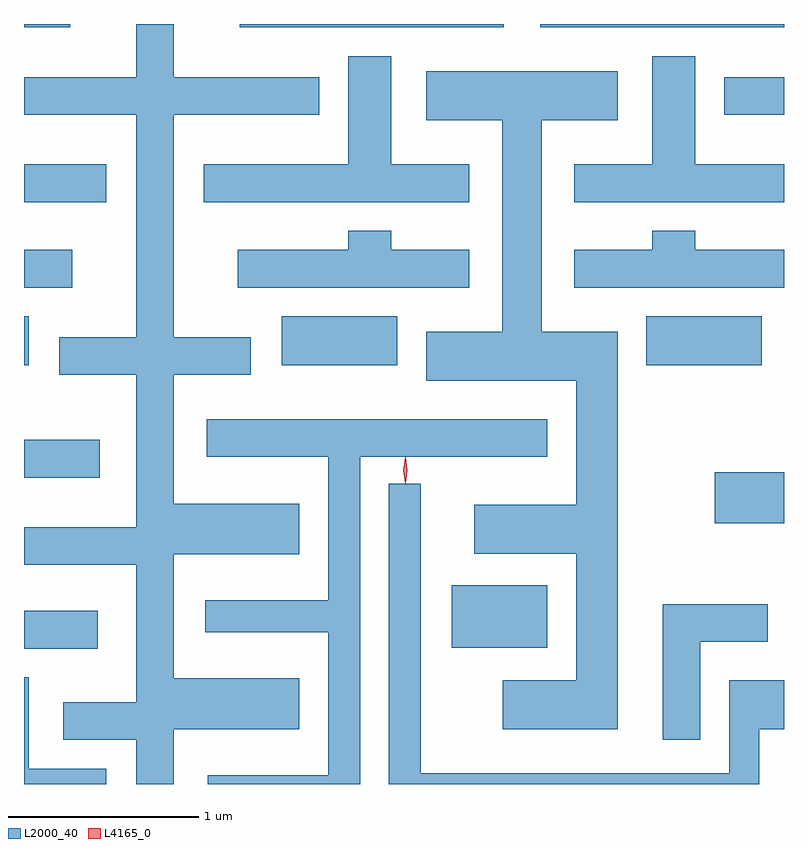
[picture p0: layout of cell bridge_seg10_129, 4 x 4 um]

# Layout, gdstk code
import gdstk
lib = gdstk.Library(unit=1e-6, precision=1e-09)
def R(c, l, rs):  # rectangles x0, y0, x1, y1
    for r in rs: c.add(gdstk.rectangle(r[:2], r[2:], *l))
def P(c, l, *ps):  # polygons
    for p in ps: c.add(gdstk.Polygon(p, *l))
L2000_40 = (2000, 40)
L4165_0 = (4165, 0)

bridge_seg10_129 = lib.new_cell('bridge_seg10_129')
R(bridge_seg10_129, L2000_40, [(1656,2141.306,1656.389,2141.504), (1658.251,2141.311,1658.754,2141.639), (1659.636,2141.966,1660,2142.234), (1656,2142.206,1656.399,2142.404), (1656,2142.796,1656.024,2143.054), (1657.356,2142.796,1657.964,2143.054), (1659.276,2142.796,1659.884,2143.054), (1656,2143.206,1656.254,2143.404), (1656,2143.656,1656.434,2143.854), (1659.686,2144.116,1660,2144.314), (1656,2144.576,1656.244,2144.593), (1657.136,2144.576,1658.524,2144.593), (1658.716,2144.576,1660,2144.593)])
P(bridge_seg10_129, L2000_40, [(1660,2143.854),(1659.534,2143.854),(1659.534,2144.424),(1659.306,2144.424),(1659.306,2143.854),(1658.896,2143.854),(1658.896,2143.656),(1660,2143.656)],
  [(1658.344,2143.854),(1657.934,2143.854),(1657.934,2144.424),(1657.706,2144.424),(1657.706,2143.854),(1656.946,2143.854),(1656.946,2143.656),(1658.344,2143.656)],
  [(1659.124,2142.974),(1658.724,2142.974),(1658.724,2144.086),(1659.124,2144.086),(1659.124,2144.344),(1658.116,2144.344),(1658.116,2144.086),(1658.516,2144.086),(1658.516,2142.974),(1658.116,2142.974),(1658.116,2142.716),(1658.906,2142.716),(1658.906,2142.064),(1658.371,2142.064),(1658.371,2141.806),(1658.906,2141.806),(1658.906,2141.139),(1658.521,2141.139),(1658.521,2140.881),(1659.124,2140.881)],
  [(1660,2143.404),(1659.534,2143.404),(1659.534,2143.504),(1659.306,2143.504),(1659.306,2143.404),(1658.896,2143.404),(1658.896,2143.206),(1660,2143.206)],
  [(1658.344,2143.404),(1657.934,2143.404),(1657.934,2143.504),(1657.706,2143.504),(1657.706,2143.404),(1657.126,2143.404),(1657.126,2143.206),(1658.344,2143.206)],
  [(1657.769,2142.316),(1658.754,2142.316),(1658.754,2142.514),(1656.961,2142.514),(1656.961,2142.316),(1657.601,2142.316),(1657.601,2141.559),(1656.953,2141.559),(1656.953,2141.391),(1657.601,2141.391),(1657.601,2140.639),(1656.968,2140.639),(1656.968,2140.593),(1657.769,2140.593)],
  [(1659.869,2140.881),(1660,2140.881),(1660,2141.139),(1659.711,2141.139),(1659.711,2140.649),(1658.089,2140.649),(1658.089,2142.173),(1657.921,2142.173),(1657.921,2140.593),(1659.869,2140.593)],
  [(1659.559,2141.341),(1659.914,2141.341),(1659.914,2141.539),(1659.361,2141.539),(1659.361,2140.826),(1659.559,2140.826)],
  [(1656.434,2140.674),(1656.024,2140.674),(1656.024,2141.154),(1656,2141.154),(1656,2140.593),(1656.434,2140.593)],
  [(1657.449,2141.801),(1657.449,2142.069),(1656.789,2142.069),(1656.789,2142.746),(1657.194,2142.746),(1657.194,2142.944),(1656.789,2142.944),(1656.789,2144.116),(1657.554,2144.116),(1657.554,2144.314),(1656.789,2144.314),(1656.789,2144.593),(1656.591,2144.593),(1656.591,2144.314),(1656,2144.314),(1656,2144.116),(1656.591,2144.116),(1656.591,2142.944),(1656.186,2142.944),(1656.186,2142.746),(1656.591,2142.746),(1656.591,2141.944),(1656,2141.944),(1656,2141.746),(1656.591,2141.746),(1656.591,2141.024),(1656.206,2141.024),(1656.206,2140.826),(1656.591,2140.826),(1656.591,2140.593),(1656.789,2140.593),(1656.789,2140.881),(1657.449,2140.881),(1657.449,2141.149),(1656.789,2141.149),(1656.789,2141.801)])
P(bridge_seg10_129, L4165_0, [(1658.007,2142.178),(1658.007,2142.178),(1657.997,2142.244),(1658.007,2142.311),(1658.007,2142.311),(1658.008,2142.311),(1658.017,2142.244),(1658.008,2142.178)],
  [(1658.007,2142.174),(1658.007,2142.175),(1657.997,2142.244),(1658.007,2142.313),(1658.007,2142.314),(1658.008,2142.313),(1658.017,2142.244),(1658.008,2142.175)])

lib.write_gds('bridge_seg10_129.gds')
